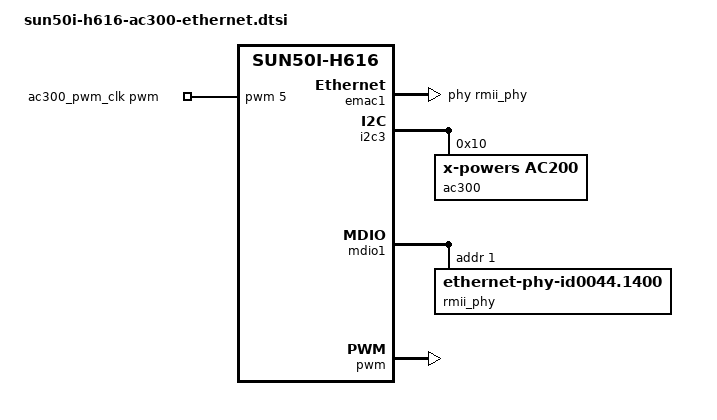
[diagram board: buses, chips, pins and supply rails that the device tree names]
// SPDX-License-Identifier: (GPL-2.0+ OR MIT)
// Copyright (C) 2024 Jernej Skrabec <jernej.skrabec@gmail.com>

/ {
	ac300_pwm_clk: ac300_clk {
		compatible = "pwm-clock";
		#clock-cells = <0>;
		clock-frequency = <24000000>;
		pinctrl-names = "default";
		pinctrl-0 = <&pwm5_pin>;
		pwms = <&pwm 5 42 0>;
	};
};

&emac1 {
	phy-handle = <&rmii_phy>;
	allwinner,rx-delay-ps = <3100>;
	allwinner,tx-delay-ps = <700>;
	status = "okay";
};

&i2c3 {
	pinctrl-names = "default";
	pinctrl-0 = <&i2c3_pa_pins>;
	status = "okay";

	ac300: mfd@10 {
		compatible = "x-powers,ac200";
		reg = <0x10>;
		clocks = <&ac300_pwm_clk>;

		ac300_ephy_ctl: syscon {
			compatible = "x-powers,ac200-ephy-ctl";
			nvmem-cells = <&ephy_calib>;
			nvmem-cell-names = "calibration";
			#clock-cells = <0>;
			#reset-cells = <0>;
			phy-mode = "rmii";
			phy-address = <1>;
		};
	};
};

&i2c3_pa_pins {
	bias-pull-up;
};

&mdio1 {
	rmii_phy: ethernet-phy@1 {
		compatible = "ethernet-phy-id0044.1400",
			     "ethernet-phy-ieee802.3-c22";
		reg = <1>;
		resets = <&ac300_ephy_ctl>;
		reset-names = "phy";
		clocks = <&ac300_ephy_ctl>;
	};
};

&pwm {
	status = "okay";
};
